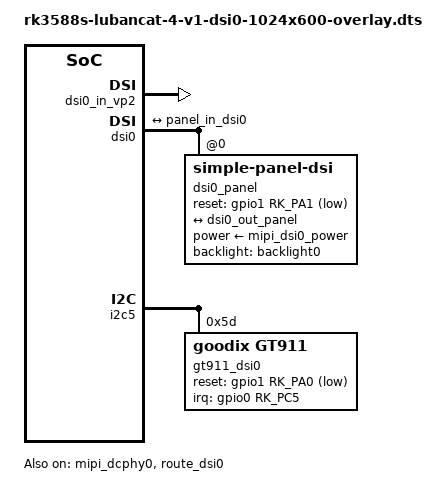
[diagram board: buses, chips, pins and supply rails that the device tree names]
/dts-v1/;
/plugin/;

#include <dt-bindings/gpio/gpio.h>
#include <dt-bindings/pinctrl/rockchip.h>
#include <dt-bindings/display/drm_mipi_dsi.h>
#include <dt-bindings/interrupt-controller/irq.h>

/ {
	fragment@0 {
		target = <&mipi_dcphy0>;

		__overlay__ {
			status = "okay";
		};
	};

	fragment@1 {
		target = <&route_dsi0>;

		__overlay__ {
			status = "okay";
			connect = <&vp2_out_dsi0>;
		};
	};

	fragment@2 {
		target = <&dsi0_in_vp2>;

		__overlay__ {
			status = "okay";
		};
	};


	fragment@3 {
		target = <&dsi0>;

		__overlay__ {
			status = "okay";
			#address-cells = <1>;
			#size-cells = <0>;

			dsi0_panel: panel@0 {
				status = "okay";
				compatible = "simple-panel-dsi";
				reg = <0>;
				backlight = <&backlight0>;
				power-supply = <&mipi_dsi0_power>;
				reset-gpios = <&gpio1 RK_PA1 GPIO_ACTIVE_LOW>;

				enable-delay-ms = <35>;
				prepare-delay-ms = <6>;
				reset-delay-ms = <0>;
				init-delay-ms = <20>;
				unprepare-delay-ms = <0>;
				disable-delay-ms = <20>;

				size,width = <74>;
				size,height = <133>;

				dsi,flags = <(MIPI_DSI_MODE_VIDEO | MIPI_DSI_MODE_VIDEO_BURST | MIPI_DSI_MODE_LPM | MIPI_DSI_MODE_EOT_PACKET)>;
				dsi,format = <MIPI_DSI_FMT_RGB888>;
				dsi,lanes  = <4>;

				panel-init-sequence = [
					15 00 02 80 AC
            		15 00 02 81 B8
            		15 00 02 82 09
            		15 00 02 83 78
            		15 00 02 84 7F
            		15 00 02 85 BB
            		15 00 02 86 70
            		05 C8 01 11
            		05 C8 01 29
				];

				panel-exit-sequence = [
					05 78 01 28
					05 00 01 10
				];

				disp0_timings0: display-timings {
					native-mode = <&dsi0_timing0>;
					dsi0_timing0: timing0 {
                		clock-frequency = <51668640>;
                		hactive = <1024>;
                		vactive = <600>;
                		hsync-len = <10>;
                		hback-porch = <160>;
               			hfront-porch = <160>;
                		vsync-len = <1>;
                		vback-porch = <23>;
                		vfront-porch = <12>;
                		hsync-active = <0>;
                		vsync-active = <0>;
                		de-active = <0>;
                		pixelclk-active = <0>;
					};
				};

				ports {
					#address-cells = <1>;
					#size-cells = <0>;
					port@0 {
						reg = <0>;
						panel_in_dsi0: endpoint {
							remote-endpoint = <&dsi0_out_panel>;
						};
					};
				};
			};

			ports {
				#address-cells = <1>;
				#size-cells = <0>;

				port@1 {
					reg = <1>;
					dsi0_out_panel: endpoint {
						remote-endpoint = <&panel_in_dsi0>;
					};
				};
			};
		};
	};

	fragment@4 {
		target = <&i2c5>;

		__overlay__ {
			status = "okay";
			#address-cells = <1>;
			#size-cells = <0>;
			pinctrl-names = "default";
			pinctrl-0 = <&i2c5m3_xfer>;

			gt911_dsi0: gt911@5d {
				status = "okay";
				compatible = "goodix,gt911";
				reg = <0x5d>;
				interrupt-parent = <&gpio0>;
				interrupts = <RK_PC5 IRQ_TYPE_LEVEL_LOW>;
				reset-gpios = <&gpio1 RK_PA0 GPIO_ACTIVE_LOW>;
				irq-gpios = <&gpio0 RK_PC5 GPIO_ACTIVE_HIGH>;
				touchscreen-inverted-x = <1>;
				touchscreen-inverted-y = <1>;
			};
		};
	};
};

